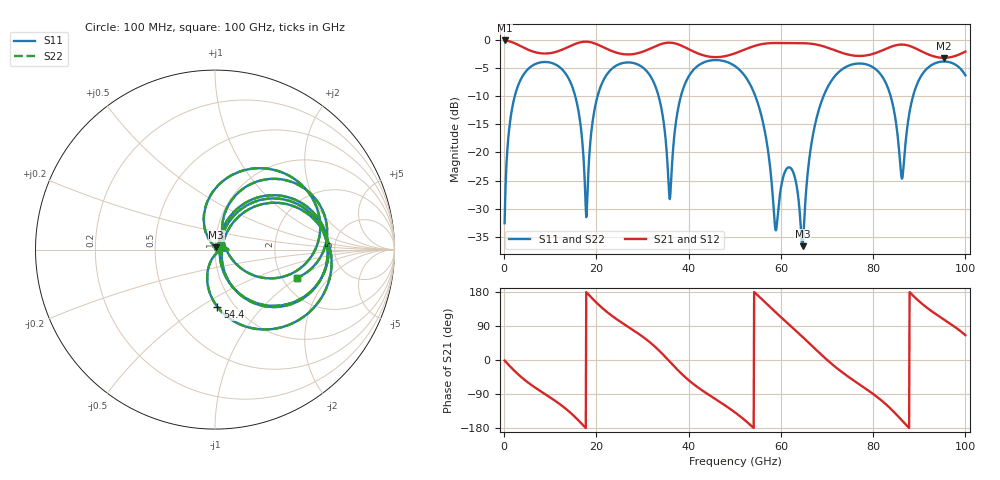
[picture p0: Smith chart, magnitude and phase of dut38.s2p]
! Touchstone file exported from HFSS 2026.1.0
!  File:  C:/ffzhzh/LocalFiles/Ansys_Project_Files/temp_train_TSV_RDL_38_1783618330_33328.aedt
!  Generated:  01:45:31 AM Jul 10, 2026
!  Design:  TSV_RDL
!  Project:  temp_train_TSV_RDL_38_1783618330_33328
! Variables:
!  h_bsmrdl = 3.96um
!  h_ox = 20um
!  h_rdl = 5um
!  h_sub = 56.97um
!  h_tmrdl = 3.23um
!  h_tsv = 56.97um
!  h_via = 3um
!  l_bsmrdl = 546.89um
!  l_sub = 3646.28um
!  l_tmrdl = 370.06um
!  m_sub = 200um
!  pitch = 57.22um
!  r_tsv = 5.71um
!  s_tmrdl = 10um
!  w_bsmrdl = 16.38um
!  w_sub = 500um
!  w_tmrdl = 25.41um
!  x_tsv_center1 = 382.765um
!  x_tsv_center2 = 946.035um
!  x_tsv_center3 = 1341.505um
!  x_tsv_center4 = 1904.775um
!  x_tsv_center5 = 2300.245um
!  x_tsv_center6 = 2863.515um
# GHz S MA R 50.000000
! Terminal data exported
! Port[1] = TM_RDL1_1_T1
! Port[2] = TM_RDL5_1_T1
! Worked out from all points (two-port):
!   1000 points, 100 MHz to 100 GHz, reference 50 ohm
!   highest |S21| = -0.15 dB at 100 MHz (marker M1); lowest = -3.2 dB at 95.3 GHz (marker M2)
!   |S21| within 3 dB of the highest: start of sweep to 94.13 GHz; 96.55 GHz to end of sweep
!   lowest |S11| = -36.6 dB at 64.7 GHz (marker M3), VSWR 1.03, Z = 50.7 + j1.3 ohm
!   |S11| at or under -10 dB: 33.48 GHz to 38.33 GHz (4.858 GHz wide, 13.5 % of centre); 54.45 GHz to 69.25 GHz (14.8 GHz wide, 23.9 % of centre); 83.78 GHz to 88.66 GHz (4.877 GHz wide, 5.66 % of centre) (the widest 3 of 5)
!   |S22| runs from -37.5 to -3.6 dB; largest |S21 - S12| = 9.4e-14
!   S11 on the Smith chart (normalised r, x): 100 MHz: 1.04, +0.03; 54.4 GHz: 0.83, -0.60; 100 GHz: 2.39, -0.98
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0.1  0.02355 40.7  0.9824 -1.4  0.9824 -1.4  0.02355 40.7
! Gamma 0 0 0 0
! Port Impedance 50 0 50 0
1.8  0.2549 61.8  0.9457 -23.4  0.9457 -23.4  0.2549 61.8
5.5  0.5631 25.5  0.8039 -62.4  0.8039 -62.4  0.5631 25.5
13.2  0.5077 -36.6  0.8348 -127.0  0.8348 -127.0  0.5077 -36.6
16.8  0.1439 -68.9  0.9508 -168.0  0.9508 -168.0  0.1439 -68.9
17.9  0.02899 20.2  0.9575 177.8  0.9575 177.8  0.02907 20.2
23.1  0.5388 26.6  0.7992 119.1  0.7992 119.1  0.5388 26.6
33.4  0.3244 -57.9  0.8933 27.1  0.8933 27.1  0.3244 -58.0
35.9  0.03856 -7.4  0.9392 -4.2  0.9392 -4.2  0.0385 -7.4
39.9  0.4631 33.6  0.8267 -52.2  0.8267 -52.2  0.4631 33.6
50.1  0.5797 -47.3  0.757 -138.7  0.757 -138.7  0.5797 -47.3
54.4  0.3202 -87.5  0.8814 177.3  0.8814 177.3  0.3203 -87.5
58.8  0.02092 -61.7  0.9324 126.6  0.9324 126.6  0.0219 -61.5
62  0.07326 -1.0  0.9298 91.0  0.9298 91.0  0.07324 -2.0
64.7  0.01475 60.3  0.9288 60.8  0.9288 60.8  0.01329 60.6
66.7  0.125 116.2  0.9173 37.9  0.9173 37.9  0.1248 116.9
74.2  0.575 47.4  0.7429 -40.6  0.7429 -40.6  0.5749 47.5
83.4  0.3545 -26.9  0.8491 -123.9  0.8491 -123.9  0.3545 -26.8
86.3  0.05868 25.5  0.9035 -160.2  0.9035 -160.2  0.0593 25.4
89.4  0.3914 63.7  0.8283 161.2  0.8283 161.2  0.3915 63.6
95.3  0.6392 16.9  0.6889 107.2  0.6889 107.2  0.6392 16.8
100  0.4822 -19.1  0.7831 65.5  0.7831 65.5  0.482 -19.3
